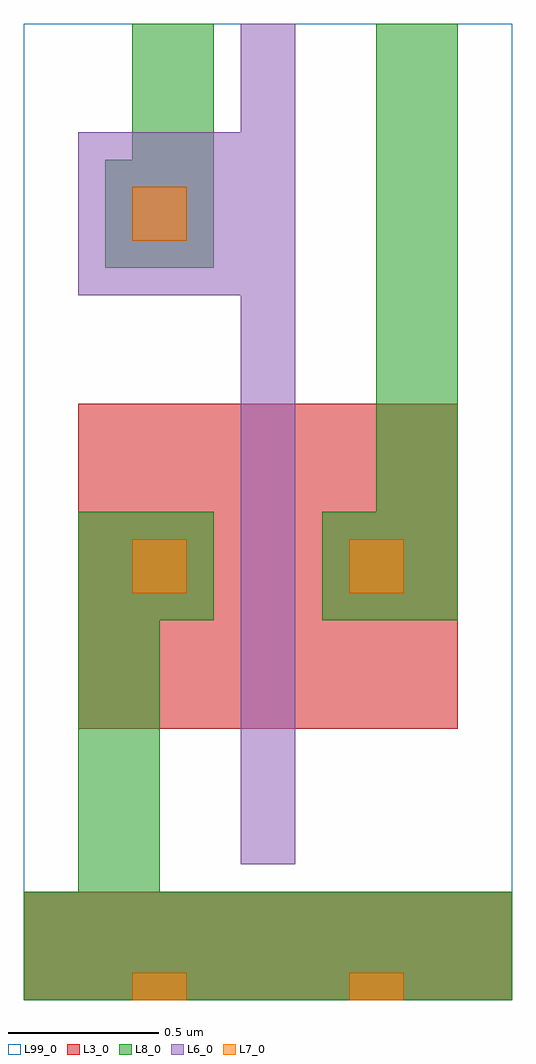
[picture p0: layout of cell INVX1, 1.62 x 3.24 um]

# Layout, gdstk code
import gdstk
lib = gdstk.Library(unit=1e-6, precision=1e-09)
def R(c, l, rs):  # rectangles x0, y0, x1, y1
    for r in rs: c.add(gdstk.rectangle(r[:2], r[2:], *l))
def P(c, l, *ps):  # polygons
    for p in ps: c.add(gdstk.Polygon(p, *l))
L3_0 = (3, 0)
L6_0 = (6, 0)
L7_0 = (7, 0)
L8_0 = (8, 0)
L99_0 = (99, 0)

invx1 = lib.new_cell('INVX1')
R(invx1, L3_0, [(0.54,-1.26,2.16,-0.9), (0.72,-0.36,1.98,0.72)])
P(invx1, L6_0, [(1.26,-0.81),(1.26,1.08),(0.72,1.08),(0.72,1.62),(1.26,1.62),(1.26,1.98),(1.44,1.98),(1.44,-0.81)])
R(invx1, L7_0, [(0.9,-1.26,1.08,-1.17), (1.62,-1.26,1.8,-1.17), (0.9,0.09,1.08,0.27), (1.62,0.09,1.8,0.27), (0.9,1.26,1.08,1.44)])
P(invx1, L8_0, [(0.81,1.17),(0.81,1.53),(0.9,1.53),(0.9,1.98),(1.17,1.98),(1.17,1.17)],
  [(0.54,-1.26),(0.54,-0.9),(0.72,-0.9),(0.72,0.36),(1.17,0.36),(1.17,0),(0.99,0),(0.99,-0.9),(2.16,-0.9),(2.16,-1.26)],
  [(1.53,0),(1.53,0.36),(1.71,0.36),(1.71,1.98),(1.98,1.98),(1.98,0)])
R(invx1, L99_0, [(0.54,-1.26,2.16,1.98)])

lib.write_gds('INVX1.gds')
